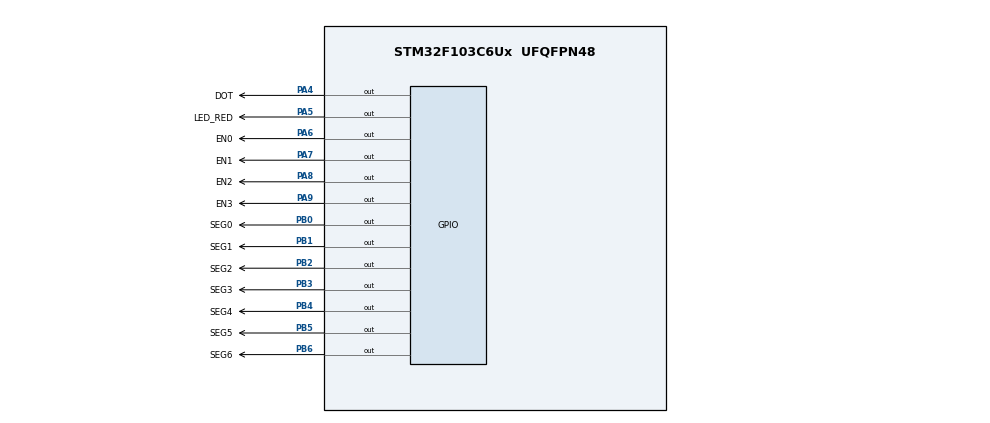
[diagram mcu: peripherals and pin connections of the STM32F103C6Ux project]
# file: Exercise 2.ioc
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Mcu.Family=STM32F1
Mcu.Name=STM32F103C6Ux
Mcu.Package=UFQFPN48
NVIC.PriorityGroup=NVIC_PRIORITYGROUP_4
NVIC.TIM2_IRQn=true\:0\:0\:false\:false\:true\:true\:true
PA4.GPIO_Label=DOT
PA4.Signal=GPIO_Output
PA5.GPIO_Label=LED_RED
PA5.Signal=GPIO_Output
PA6.GPIO_Label=EN0
PA6.Signal=GPIO_Output
PA7.GPIO_Label=EN1
PA7.Signal=GPIO_Output
PA8.GPIO_Label=EN2
PA8.Signal=GPIO_Output
PA9.GPIO_Label=EN3
PA9.Signal=GPIO_Output
PB0.GPIO_Label=SEG0
PB0.Signal=GPIO_Output
PB1.GPIO_Label=SEG1
PB1.Signal=GPIO_Output
PB2.GPIO_Label=SEG2
PB2.Signal=GPIO_Output
PB3.GPIO_Label=SEG3
PB3.Signal=GPIO_Output
PB4.GPIO_Label=SEG4
PB4.Signal=GPIO_Output
PB5.GPIO_Label=SEG5
PB5.Signal=GPIO_Output
PB6.GPIO_Label=SEG6
PB6.Signal=GPIO_Output
ProjectManager.HeapSize=0x200
ProjectManager.StackSize=0x400
ProjectManager.TargetToolchain=STM32CubeIDE
RCC.APB1Freq_Value=8000000
RCC.APB2Freq_Value=8000000
TIM2.Period=9
TIM2.Prescaler=7999
VP_SYS_VS_ND.Mode=No_Debug
VP_TIM2_VS_ClockSourceINT.Mode=Internal
board=custom

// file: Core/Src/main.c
/* USER CODE BEGIN Header */
/**
  ******************************************************************************
  * @file           : main.c
  * @brief          : Main program body
  ******************************************************************************
  * @attention
  *
  * <h2><center>&copy; Copyright (c) 2022 STMicroelectronics.
  * All rights reserved.</center></h2>
  *
  * This software component is licensed by ST under BSD 3-Clause license,
  * the "License"; You may not use this file except in compliance with the
  * License. You may obtain a copy of the License at:
  *                        opensource.org/licenses/BSD-3-Clause
  *
  ******************************************************************************
  */
/* USER CODE END Header */
#include "main.h"

TIM_HandleTypeDef htim2;

void SystemClock_Config(void);
static void MX_GPIO_Init(void);
static void MX_TIM2_Init(void);

/* USER CODE BEGIN 0 */
void display7SEG(int num)
{
	if (num == 0)
	{
		HAL_GPIO_WritePin (GPIOB, SEG0_Pin|SEG1_Pin|SEG2_Pin|SEG3_Pin|SEG4_Pin|SEG5_Pin, GPIO_PIN_RESET);
		HAL_GPIO_WritePin (GPIOB, SEG6_Pin, GPIO_PIN_SET);
	}
	else if (num == 1)
	{
		HAL_GPIO_WritePin (GPIOB, SEG1_Pin|SEG2_Pin, GPIO_PIN_RESET);
		HAL_GPIO_WritePin (GPIOB, SEG0_Pin|SEG3_Pin|SEG4_Pin|SEG5_Pin|SEG6_Pin, GPIO_PIN_SET);
	}
	else if (num == 2)
	{
		HAL_GPIO_WritePin (GPIOB, SEG0_Pin|SEG1_Pin|SEG3_Pin|SEG4_Pin|SEG6_Pin, GPIO_PIN_RESET);
		HAL_GPIO_WritePin (GPIOB, SEG2_Pin|SEG5_Pin, GPIO_PIN_SET);
	}
	else if (num == 3)
	{
		HAL_GPIO_WritePin (GPIOB, SEG0_Pin|SEG1_Pin|SEG2_Pin|SEG3_Pin|SEG6_Pin, GPIO_PIN_RESET);
		HAL_GPIO_WritePin (GPIOB, SEG4_Pin|SEG5_Pin, GPIO_PIN_SET);
	}
	else if (num == 4)
	{
		HAL_GPIO_WritePin (GPIOB, SEG1_Pin|SEG2_Pin|SEG5_Pin|SEG6_Pin, GPIO_PIN_RESET);
		HAL_GPIO_WritePin (GPIOB, SEG0_Pin|SEG3_Pin|SEG4_Pin, GPIO_PIN_SET);
	}
	else if (num == 5)
	{
		HAL_GPIO_WritePin (GPIOB, SEG0_Pin|SEG2_Pin|SEG3_Pin|SEG5_Pin|SEG6_Pin, GPIO_PIN_RESET);
		HAL_GPIO_WritePin (GPIOB, SEG1_Pin|SEG4_Pin, GPIO_PIN_SET);
	}
	else if (num == 6)
	{
		HAL_GPIO_WritePin (GPIOB, SEG0_Pin|SEG2_Pin|SEG3_Pin|SEG4_Pin|SEG5_Pin|SEG6_Pin, GPIO_PIN_RESET);
		HAL_GPIO_WritePin (GPIOB, SEG1_Pin, GPIO_PIN_SET);
	}
	else if (num == 7)
	{
		HAL_GPIO_WritePin (GPIOB, SEG0_Pin|SEG1_Pin|SEG2_Pin, GPIO_PIN_RESET);
		HAL_GPIO_WritePin (GPIOB, SEG3_Pin|SEG4_Pin|SEG5_Pin|SEG6_Pin, GPIO_PIN_SET);
	}
	else if (num == 8)
	{
		HAL_GPIO_WritePin (GPIOB, SEG0_Pin|SEG1_Pin|SEG2_Pin|SEG3_Pin|SEG4_Pin|SEG5_Pin|SEG6_Pin, GPIO_PIN_RESET);
	}
	else
	{
		HAL_GPIO_WritePin (GPIOB, SEG0_Pin|SEG1_Pin|SEG2_Pin|SEG3_Pin|SEG5_Pin|SEG6_Pin, GPIO_PIN_RESET);
		HAL_GPIO_WritePin (GPIOB, SEG4_Pin, GPIO_PIN_SET);
	}
}
/* USER CODE END 0 */

int main(void)
{

  /* MCU Configuration--------------------------------------------------------*/

  /* Reset of all peripherals, Initializes the Flash interface and the Systick. */
  HAL_Init();

  /* Configure the system clock */
  SystemClock_Config();

  /* Initialize all configured peripherals */
  MX_GPIO_Init();
  MX_TIM2_Init();
  /* USER CODE BEGIN 2 */
HAL_TIM_Base_Start_IT(&htim2);
  /* USER CODE END 2 */

  /* Infinite loop */
  while (1)
  {

  }
}

void SystemClock_Config(void)
{
  RCC_OscInitTypeDef RCC_OscInitStruct = {0};
  RCC_ClkInitTypeDef RCC_ClkInitStruct = {0};

  /** Initializes the RCC Oscillators according to the specified parameters
  * in the RCC_OscInitTypeDef structure.
  */
  RCC_OscInitStruct.OscillatorType = RCC_OSCILLATORTYPE_HSI;
  RCC_OscInitStruct.HSIState = RCC_HSI_ON;
  RCC_OscInitStruct.HSICalibrationValue = RCC_HSICALIBRATION_DEFAULT;
  RCC_OscInitStruct.PLL.PLLState = RCC_PLL_NONE;
  if (HAL_RCC_OscConfig(&RCC_OscInitStruct) != HAL_OK)
  {
    Error_Handler();
  }
  /** Initializes the CPU, AHB and APB buses clocks
  */
  RCC_ClkInitStruct.ClockType = RCC_CLOCKTYPE_HCLK|RCC_CLOCKTYPE_SYSCLK
                              |RCC_CLOCKTYPE_PCLK1|RCC_CLOCKTYPE_PCLK2;
  RCC_ClkInitStruct.SYSCLKSource = RCC_SYSCLKSOURCE_HSI;
  RCC_ClkInitStruct.AHBCLKDivider = RCC_SYSCLK_DIV1;
  RCC_ClkInitStruct.APB1CLKDivider = RCC_HCLK_DIV1;
  RCC_ClkInitStruct.APB2CLKDivider = RCC_HCLK_DIV1;

  if (HAL_RCC_ClockConfig(&RCC_ClkInitStruct, FLASH_LATENCY_0) != HAL_OK)
  {
    Error_Handler();
  }
}

static void MX_TIM2_Init(void)
{

  TIM_ClockConfigTypeDef sClockSourceConfig = {0};
  TIM_MasterConfigTypeDef sMasterConfig = {0};

  htim2.Instance = TIM2;
  htim2.Init.Prescaler = 7999;
  htim2.Init.CounterMode = TIM_COUNTERMODE_UP;
  htim2.Init.Period = 9;
  htim2.Init.ClockDivision = TIM_CLOCKDIVISION_DIV1;
  htim2.Init.AutoReloadPreload = TIM_AUTORELOAD_PRELOAD_DISABLE;
  if (HAL_TIM_Base_Init(&htim2) != HAL_OK)
  {
    Error_Handler();
  }
  sClockSourceConfig.ClockSource = TIM_CLOCKSOURCE_INTERNAL;
  if (HAL_TIM_ConfigClockSource(&htim2, &sClockSourceConfig) != HAL_OK)
  {
    Error_Handler();
  }
  sMasterConfig.MasterOutputTrigger = TIM_TRGO_RESET;
  sMasterConfig.MasterSlaveMode = TIM_MASTERSLAVEMODE_DISABLE;
  if (HAL_TIMEx_MasterConfigSynchronization(&htim2, &sMasterConfig) != HAL_OK)
  {
    Error_Handler();
  }

}

static void MX_GPIO_Init(void)
{
  GPIO_InitTypeDef GPIO_InitStruct = {0};

  /* GPIO Ports Clock Enable */
  __HAL_RCC_GPIOA_CLK_ENABLE();
  __HAL_RCC_GPIOB_CLK_ENABLE();

  /*Configure GPIO pin Output Level */
  HAL_GPIO_WritePin(GPIOA, DOT_Pin|LED_RED_Pin|EN0_Pin|EN1_Pin
                          |EN2_Pin|EN3_Pin, GPIO_PIN_RESET);

  /*Configure GPIO pin Output Level */
  HAL_GPIO_WritePin(GPIOB, SEG0_Pin|SEG1_Pin|SEG2_Pin|SEG3_Pin
                          |SEG4_Pin|SEG5_Pin|SEG6_Pin, GPIO_PIN_RESET);

  /*Configure GPIO pins : DOT_Pin LED_RED_Pin EN0_Pin EN1_Pin
                           EN2_Pin EN3_Pin */
  GPIO_InitStruct.Pin = DOT_Pin|LED_RED_Pin|EN0_Pin|EN1_Pin
                          |EN2_Pin|EN3_Pin;
  GPIO_InitStruct.Mode = GPIO_MODE_OUTPUT_PP;
  GPIO_InitStruct.Pull = GPIO_NOPULL;
  GPIO_InitStruct.Speed = GPIO_SPEED_FREQ_LOW;
  HAL_GPIO_Init(GPIOA, &GPIO_InitStruct);

  /*Configure GPIO pins : SEG0_Pin SEG1_Pin SEG2_Pin SEG3_Pin
                           SEG4_Pin SEG5_Pin SEG6_Pin */
  GPIO_InitStruct.Pin = SEG0_Pin|SEG1_Pin|SEG2_Pin|SEG3_Pin
                          |SEG4_Pin|SEG5_Pin|SEG6_Pin;
  GPIO_InitStruct.Mode = GPIO_MODE_OUTPUT_PP;
  GPIO_InitStruct.Pull = GPIO_NOPULL;
  GPIO_InitStruct.Speed = GPIO_SPEED_FREQ_LOW;
  HAL_GPIO_Init(GPIOB, &GPIO_InitStruct);

}

/* USER CODE BEGIN 4 */
int ledEnable = 0; // To know which Led is enable

int counterFor2LedRed = 100; //The switching time between 2 LED RED is a second
int counter = 50; //The switching time between 4 LEDS is a half of second
void HAL_TIM_PeriodElapsedCallback(TIM_HandleTypeDef *htim){
	if (counterFor2LedRed > 0){
			counterFor2LedRed --;
			if(counterFor2LedRed <= 0){
				counterFor2LedRed = 100;

				HAL_GPIO_TogglePin(DOT_GPIO_Port, DOT_Pin);
			}
		}

	if (counter > 0){
	counter--;
	if(counter <= 0){
		counter = 50;

		//display 1st Led7Segment
		if (ledEnable == 0){
			HAL_GPIO_WritePin(EN0_GPIO_Port, EN0_Pin, RESET);
			HAL_GPIO_WritePin(EN1_GPIO_Port, EN1_Pin, SET);
			HAL_GPIO_WritePin(EN1_GPIO_Port, EN2_Pin, SET);
			HAL_GPIO_WritePin(EN1_GPIO_Port, EN3_Pin, SET);
			display7SEG(1);
			ledEnable = 1;
		}
		//display 2nd Led7Segment
		else if (ledEnable == 1){
			HAL_GPIO_WritePin(EN0_GPIO_Port, EN0_Pin, SET);
			HAL_GPIO_WritePin(EN1_GPIO_Port, EN1_Pin, RESET);
			HAL_GPIO_WritePin(EN2_GPIO_Port, EN2_Pin, SET);
			HAL_GPIO_WritePin(EN3_GPIO_Port, EN3_Pin, SET);
			display7SEG(2);
			ledEnable = 2;
		}
		//display 3rd Led7Segment
		else if (ledEnable == 2){
			HAL_GPIO_WritePin(EN0_GPIO_Port, EN0_Pin, SET);
			HAL_GPIO_WritePin(EN1_GPIO_Port, EN1_Pin, SET);
			HAL_GPIO_WritePin(EN2_GPIO_Port, EN2_Pin, RESET);
			HAL_GPIO_WritePin(EN3_GPIO_Port, EN3_Pin, SET);
			display7SEG(3);
			ledEnable = 3;
		}
		//display 4th Led7Segment
		else{
			HAL_GPIO_WritePin(EN0_GPIO_Port, EN0_Pin, SET);
			HAL_GPIO_WritePin(EN1_GPIO_Port, EN1_Pin, SET);
			HAL_GPIO_WritePin(EN2_GPIO_Port, EN2_Pin, SET);
			HAL_GPIO_WritePin(EN3_GPIO_Port, EN3_Pin, RESET);
			display7SEG(0);
			ledEnable = 0;
		}
	}
}

}
/* USER CODE END 4 */

void Error_Handler(void)
{
  __disable_irq();
  while (1)
  {
  }
}

/************************ (C) COPYRIGHT STMicroelectronics *****END OF FILE****/
